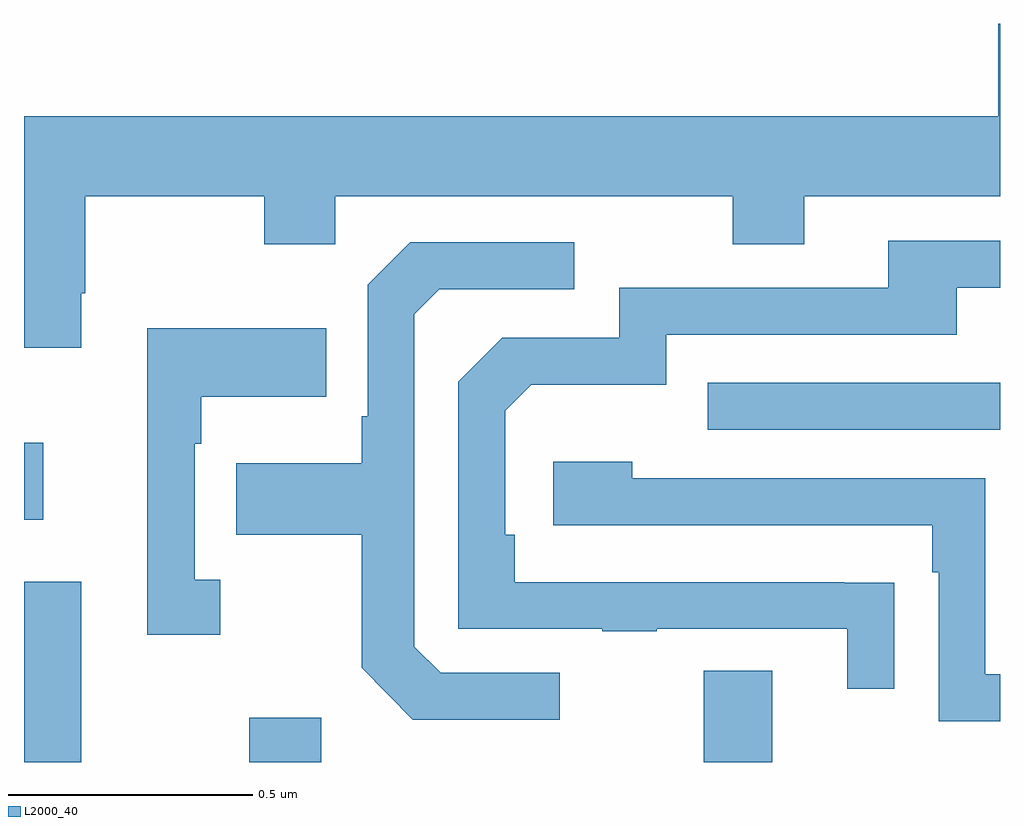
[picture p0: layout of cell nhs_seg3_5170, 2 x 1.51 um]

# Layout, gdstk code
import gdstk
lib = gdstk.Library(unit=1e-6, precision=1e-09)
def R(c, l, rs):  # rectangles x0, y0, x1, y1
    for r in rs: c.add(gdstk.rectangle(r[:2], r[2:], *l))
def P(c, l, *ps):  # polygons
    for p in ps: c.add(gdstk.Polygon(p, *l))
L2000_40 = (2000, 40)

nhs_seg3_5170 = lib.new_cell('nhs_seg3_5170')
R(nhs_seg3_5170, L2000_40, [(175,722.4,175.117,722.77), (175.462,722.4,175.609,722.491), (176.393,722.4,176.533,722.587), (175,722.897,175.039,723.055), (176.401,723.081,177,723.177)])
P(nhs_seg3_5170, L2000_40, [(175.117,723.361),(175.125,723.361),(175.125,723.56),(175.492,723.56),(175.492,723.461),(175.638,723.461),(175.638,723.56),(176.452,723.56),(176.452,723.461),(176.599,723.461),(176.599,723.56),(177,723.56),(177,723.913),(176.996,723.913),(176.996,723.724),(175,723.724),(175,723.249),(175.117,723.249)],
  [(176.783,722.768),(176.681,722.768),(176.681,722.769),(176.006,722.769),(176.006,722.866),(175.986,722.866),(175.986,723.12),(176.039,723.173),(176.316,723.173),(176.316,723.276),(176.911,723.276),(176.911,723.372),(177,723.372),(177,723.468),(176.771,723.468),(176.771,723.372),(176.22,723.372),(176.22,723.27),(175.98,723.27),(175.89,723.18),(175.89,722.673),(176.185,722.673),(176.185,722.668),(176.297,722.668),(176.297,722.673),(176.687,722.673),(176.687,722.55),(176.783,722.55)],
  [(176.098,722.583),(175.854,722.583),(175.8,722.637),(175.8,723.318),(175.851,723.369),(176.128,723.369),(176.128,723.465),(175.791,723.465),(175.704,723.378),(175.704,723.109),(175.692,723.109),(175.692,723.013),(175.435,723.013),(175.435,722.866),(175.692,722.866),(175.692,722.593),(175.797,722.487),(176.098,722.487)],
  [(175.402,722.774),(175.35,722.774),(175.35,723.053),(175.363,723.053),(175.363,723.149),(175.619,723.149),(175.619,723.289),(175.253,723.289),(175.253,722.661),(175.402,722.661)],
  [(177,722.58),(176.97,722.58),(176.97,722.982),(176.246,722.982),(176.246,723.016),(176.085,723.016),(176.085,722.886),(176.861,722.886),(176.861,722.789),(176.874,722.789),(176.874,722.484),(177,722.484)])

lib.write_gds('nhs_seg3_5170.gds')
